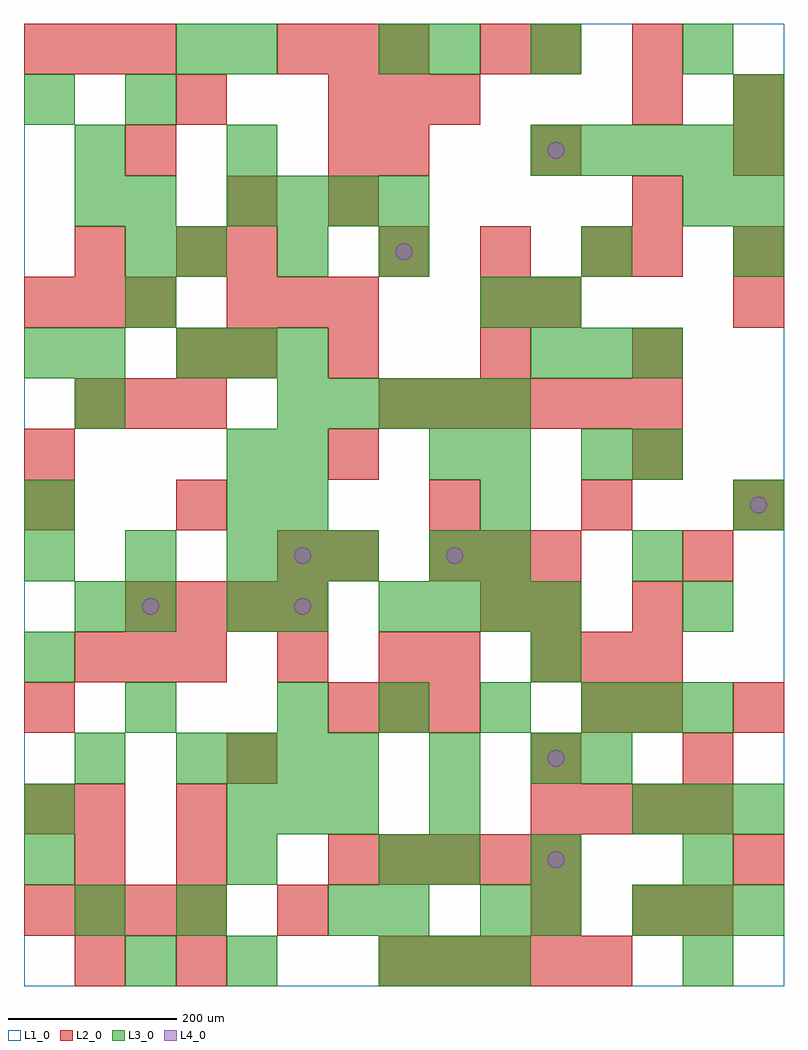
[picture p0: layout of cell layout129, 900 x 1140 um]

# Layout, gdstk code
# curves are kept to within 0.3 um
import gdstk
lib = gdstk.Library(unit=1e-6, precision=1e-09)
def R(c, l, rs):  # rectangles x0, y0, x1, y1
    for r in rs: c.add(gdstk.rectangle(r[:2], r[2:], *l))
def A(c, l, x, y, w, h, nx, ny, dx, dy):  # array of equal rectangles
    R(c, l, [(x+i*dx, y+j*dy, x+i*dx+w, y+j*dy+h) for i in range(nx) for j in range(ny)])
def P(c, l, *ps):  # polygons
    for p in ps: c.add(gdstk.Polygon(p, *l))
L1_0 = (1, 0)
L2_0 = (2, 0)
L3_0 = (3, 0)
L4_0 = (4, 0)

layout129 = lib.new_cell('layout129')
R(layout129, L1_0, [(0,0,900,1140)])
A(layout129, L2_0, 420, 0, 60, 60, 5, 1, 60, 0)
A(layout129, L2_0, 0, 60, 60, 60, 4, 1, 60, 0)
A(layout129, L2_0, 600, 60, 60, 60, 1, 3, 0, 180)
A(layout129, L2_0, 360, 120, 60, 60, 5, 1, 60, 0)
A(layout129, L2_0, 600, 180, 60, 60, 4, 1, 60, 0)
A(layout129, L2_0, 360, 300, 60, 60, 3, 2, 60, 720)
A(layout129, L2_0, 60, 360, 60, 60, 3, 2, 60, 300)
A(layout129, L2_0, 600, 360, 60, 60, 3, 1, 60, 0)
A(layout129, L2_0, 120, 420, 60, 60, 4, 1, 60, 0)
A(layout129, L2_0, 480, 480, 60, 60, 3, 1, 60, 0)
A(layout129, L2_0, 480, 540, 60, 60, 3, 1, 180, 0)
A(layout129, L2_0, 0, 600, 60, 60, 3, 1, 360, 0)
A(layout129, L2_0, 420, 660, 60, 60, 6, 1, 60, 0)
A(layout129, L2_0, 360, 720, 60, 60, 3, 1, 180, 0)
A(layout129, L2_0, 0, 780, 60, 60, 3, 2, 60, 300)
A(layout129, L2_0, 240, 780, 60, 60, 3, 1, 60, 0)
A(layout129, L2_0, 420, 840, 60, 60, 3, 1, 120, 0)
A(layout129, L2_0, 300, 1080, 60, 60, 3, 1, 60, 0)
R(layout129, L2_0, [(60,0,120,60), (180,0,240,60), (300,60,360,120), (720,60,780,120), (780,60,840,120), (60,120,120,180), (180,120,240,180), (840,120,900,180), (0,180,60,240), (60,180,120,240), (180,180,240,240), (240,240,300,300), (780,240,840,300), (0,300,60,360), (660,300,720,360), (720,300,780,360), (840,300,900,360), (300,360,360,420), (420,360,480,420), (480,360,540,420), (540,420,600,480), (720,420,780,480), (300,480,360,540), (360,480,420,540), (780,480,840,540), (0,540,60,600), (180,540,240,600), (180,720,240,780), (240,720,300,780), (540,780,600,840), (600,780,660,840), (840,780,900,840), (60,840,120,900), (180,840,240,900), (240,840,300,900), (720,840,780,900), (840,840,900,900), (240,900,300,960), (360,900,420,960), (720,900,780,960), (120,960,180,1020), (360,960,420,1020), (420,960,480,1020), (600,960,660,1020), (840,960,900,1020), (180,1020,240,1080), (720,1020,780,1080), (840,1020,900,1080), (540,1080,600,1140), (600,1080,660,1140), (720,1080,780,1140)])
A(layout129, L3_0, 420, 0, 60, 60, 3, 1, 60, 0)
A(layout129, L3_0, 60, 60, 60, 60, 1, 3, 0, 180)
A(layout129, L3_0, 720, 60, 60, 60, 3, 2, 60, 120)
A(layout129, L3_0, 480, 120, 60, 60, 1, 3, 0, 60)
A(layout129, L3_0, 600, 120, 60, 60, 1, 3, 0, 120)
A(layout129, L3_0, 0, 180, 60, 60, 1, 4, 0, 180)
A(layout129, L3_0, 240, 180, 60, 60, 3, 1, 60, 0)
A(layout129, L3_0, 180, 240, 60, 60, 4, 1, 60, 0)
A(layout129, L3_0, 300, 300, 60, 60, 4, 1, 120, 0)
A(layout129, L3_0, 300, 420, 60, 60, 1, 4, 0, 60)
A(layout129, L3_0, 420, 420, 60, 60, 4, 1, 60, 0)
A(layout129, L3_0, 0, 480, 60, 60, 3, 1, 120, 0)
A(layout129, L3_0, 540, 480, 60, 60, 1, 3, 0, 60)
A(layout129, L3_0, 300, 660, 60, 60, 5, 1, 60, 0)
A(layout129, L3_0, 180, 720, 60, 60, 3, 1, 60, 0)
A(layout129, L3_0, 600, 720, 60, 60, 3, 1, 60, 0)
A(layout129, L3_0, 120, 780, 60, 60, 1, 3, 0, 60)
A(layout129, L3_0, 180, 840, 60, 60, 3, 1, 120, 0)
A(layout129, L3_0, 240, 900, 60, 60, 4, 1, 60, 0)
A(layout129, L3_0, 600, 960, 60, 60, 5, 1, 60, 0)
R(layout129, L3_0, [(120,0,180,60), (240,0,300,60), (780,0,840,60), (180,60,240,120), (360,60,420,120), (420,60,480,120), (540,60,600,120), (600,60,660,120), (0,120,60,180), (240,120,300,180), (420,120,480,180), (780,120,840,180), (660,240,720,300), (120,300,180,360), (720,300,780,360), (780,300,840,360), (120,420,180,480), (240,420,300,480), (780,420,840,480), (360,480,420,540), (480,480,540,540), (720,480,780,540), (240,540,300,600), (840,540,900,600), (240,600,300,660), (480,600,540,660), (660,600,720,660), (720,600,780,660), (60,660,120,720), (60,720,120,780), (540,780,600,840), (600,780,660,840), (660,840,720,900), (840,840,900,900), (60,900,120,960), (780,900,840,960), (840,900,900,960), (60,960,120,1020), (240,960,300,1020), (0,1020,60,1080), (120,1020,180,1080), (840,1020,900,1080), (180,1080,240,1140), (240,1080,300,1140), (420,1080,480,1140), (480,1080,540,1140), (600,1080,660,1140), (780,1080,840,1140)])
P(layout129, L4_0, [(160,450),(159.239,453.827),(157.071,457.071),(153.827,459.239),(150,460),(146.173,459.239),(142.929,457.071),(140.761,453.827),(140,450),(140.761,446.173),(142.929,442.929),(146.173,440.761),(150,440),(153.827,440.761),(157.071,442.929),(159.239,446.173)],
  [(340,450),(339.239,453.827),(337.071,457.071),(333.827,459.239),(330,460),(326.173,459.239),(322.929,457.071),(320.761,453.827),(320,450),(320.761,446.173),(322.929,442.929),(326.173,440.761),(330,440),(333.827,440.761),(337.071,442.929),(339.239,446.173)],
  [(340,510),(339.239,513.827),(337.071,517.071),(333.827,519.239),(330,520),(326.173,519.239),(322.929,517.071),(320.761,513.827),(320,510),(320.761,506.173),(322.929,502.929),(326.173,500.761),(330,500),(333.827,500.761),(337.071,502.929),(339.239,506.173)],
  [(460,870),(459.239,873.827),(457.071,877.071),(453.827,879.239),(450,880),(446.173,879.239),(442.929,877.071),(440.761,873.827),(440,870),(440.761,866.173),(442.929,862.929),(446.173,860.761),(450,860),(453.827,860.761),(457.071,862.929),(459.239,866.173)],
  [(520,510),(519.239,513.827),(517.071,517.071),(513.827,519.239),(510,520),(506.173,519.239),(502.929,517.071),(500.761,513.827),(500,510),(500.761,506.173),(502.929,502.929),(506.173,500.761),(510,500),(513.827,500.761),(517.071,502.929),(519.239,506.173)],
  [(640,150),(639.239,153.827),(637.071,157.071),(633.827,159.239),(630,160),(626.173,159.239),(622.929,157.071),(620.761,153.827),(620,150),(620.761,146.173),(622.929,142.929),(626.173,140.761),(630,140),(633.827,140.761),(637.071,142.929),(639.239,146.173)],
  [(640,270),(639.239,273.827),(637.071,277.071),(633.827,279.239),(630,280),(626.173,279.239),(622.929,277.071),(620.761,273.827),(620,270),(620.761,266.173),(622.929,262.929),(626.173,260.761),(630,260),(633.827,260.761),(637.071,262.929),(639.239,266.173)],
  [(640,990),(639.239,993.827),(637.071,997.071),(633.827,999.239),(630,1000),(626.173,999.239),(622.929,997.071),(620.761,993.827),(620,990),(620.761,986.173),(622.929,982.929),(626.173,980.761),(630,980),(633.827,980.761),(637.071,982.929),(639.239,986.173)],
  [(880,570),(879.239,573.827),(877.071,577.071),(873.827,579.239),(870,580),(866.173,579.239),(862.929,577.071),(860.761,573.827),(860,570),(860.761,566.173),(862.929,562.929),(866.173,560.761),(870,560),(873.827,560.761),(877.071,562.929),(879.239,566.173)])

lib.write_gds('layout129.gds')
